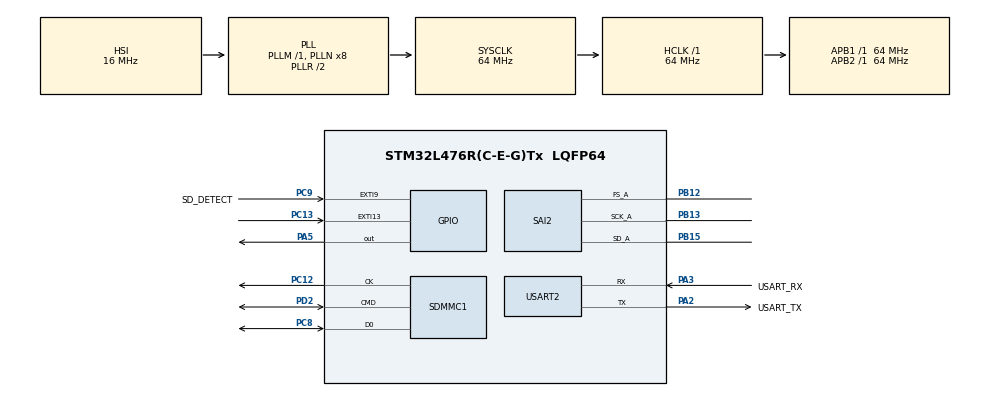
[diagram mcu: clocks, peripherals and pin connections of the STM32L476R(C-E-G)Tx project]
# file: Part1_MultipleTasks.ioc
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Dma.Request0=SAI2_A
Dma.Request1=SDMMC1
Dma.SAI2_A.0.Direction=DMA_PERIPH_TO_MEMORY
Dma.SAI2_A.0.Instance=DMA1_Channel6
Dma.SAI2_A.0.MemDataAlignment=DMA_MDATAALIGN_WORD
Dma.SAI2_A.0.MemInc=DMA_MINC_ENABLE
Dma.SAI2_A.0.Mode=DMA_CIRCULAR
Dma.SAI2_A.0.PeriphDataAlignment=DMA_PDATAALIGN_WORD
Dma.SAI2_A.0.PeriphInc=DMA_PINC_DISABLE
Dma.SAI2_A.0.Priority=DMA_PRIORITY_VERY_HIGH
Dma.SDMMC1.1.Direction=DMA_PERIPH_TO_MEMORY
Dma.SDMMC1.1.Instance=DMA2_Channel5
Dma.SDMMC1.1.MemDataAlignment=DMA_MDATAALIGN_WORD
Dma.SDMMC1.1.MemInc=DMA_MINC_ENABLE
Dma.SDMMC1.1.Mode=DMA_NORMAL
Dma.SDMMC1.1.PeriphDataAlignment=DMA_PDATAALIGN_WORD
Dma.SDMMC1.1.PeriphInc=DMA_PINC_DISABLE
Dma.SDMMC1.1.Priority=DMA_PRIORITY_VERY_HIGH
FATFS._FS_EXFAT=1
FATFS._FS_TIMEOUT=100
FATFS._MAX_LFN=64
FATFS._USE_LFN=3
FATFS._USE_MUTEX=1
FREERTOS.HEAP_NUMBER=4
FREERTOS.Tasks01=defaultTask,24,128,StartDefaultTask,As weak,NULL,Dynamic,NULL,NULL
FREERTOS.configCHECK_FOR_STACK_OVERFLOW=2
FREERTOS.configENABLE_FPU=1
FREERTOS.configTOTAL_HEAP_SIZE=48000
FREERTOS.configUSE_DAEMON_TASK_STARTUP_HOOK=0
Mcu.Family=STM32L4
Mcu.Name=STM32L476R(C-E-G)Tx
Mcu.Package=LQFP64
NVIC.DMA1_Channel6_IRQn=true\:5\:0\:false\:false\:true\:true\:false\:true\:true
NVIC.DMA2_Channel5_IRQn=true\:5\:0\:true\:false\:true\:false\:false\:true\:true
NVIC.EXTI15_10_IRQn=true\:5\:0\:false\:false\:true\:true\:true\:true\:true
NVIC.EXTI9_5_IRQn=true\:5\:0\:false\:false\:true\:true\:true\:true\:true
NVIC.PriorityGroup=NVIC_PRIORITYGROUP_4
NVIC.SDMMC1_IRQn=true\:5\:0\:false\:false\:true\:true\:true\:true\:true
NVIC.TIM2_IRQn=true\:5\:0\:false\:false\:true\:true\:true\:true\:true
NVIC.TIM6_DAC_IRQn=true\:15\:0\:false\:false\:true\:false\:false\:true\:true
NVIC.TimeBase=TIM6_DAC_IRQn
NVIC.TimeBaseIP=TIM6
PA13\ (JTMS-SWDIO).GPIO_Label=TMS
PA13\ (JTMS-SWDIO).Mode=Trace_Asynchronous_SW
PA13\ (JTMS-SWDIO).Signal=SYS_JTMS-SWDIO
PA14\ (JTCK-SWCLK).GPIO_Label=TCK
PA14\ (JTCK-SWCLK).Mode=Trace_Asynchronous_SW
PA14\ (JTCK-SWCLK).Signal=SYS_JTCK-SWCLK
PA2.GPIO_Label=USART_TX
PA2.GPIO_Mode=GPIO_MODE_AF_PP
PA2.GPIO_PuPd=GPIO_NOPULL
PA2.GPIO_Speed=GPIO_SPEED_FREQ_VERY_HIGH
PA2.Mode=Asynchronous
PA2.Signal=USART2_TX
PA3.GPIO_Label=USART_RX
PA3.GPIO_Mode=GPIO_MODE_AF_PP
PA3.GPIO_PuPd=GPIO_NOPULL
PA3.GPIO_Speed=GPIO_SPEED_FREQ_VERY_HIGH
PA3.Mode=Asynchronous
PA3.Signal=USART2_RX
PA5.Signal=GPIO_Output
PB12.Mode=SAI_A_Master
PB12.Signal=SAI2_FS_A
PB13.Mode=SAI_A_Master
PB13.Signal=SAI2_SCK_A
PB15.GPIO_PuPd=GPIO_PULLDOWN
PB15.Mode=SAI_A_Master
PB15.Signal=SAI2_SD_A
PB3\ (JTDO-TRACESWO).GPIO_Label=SWO
PB3\ (JTDO-TRACESWO).Mode=Trace_Asynchronous_SW
PB3\ (JTDO-TRACESWO).Signal=SYS_JTDO-SWO
PC12.Mode=SD_1_bit
PC12.Signal=SDMMC1_CK
PC13.GPIO_ModeDefaultEXTI=GPIO_MODE_IT_RISING_FALLING
PC13.Signal=GPXTI13
PC14-OSC32_IN\ (PC14).Signal=RCC_OSC32_IN
PC15-OSC32_OUT\ (PC15).Signal=RCC_OSC32_OUT
PC8.Mode=SD_1_bit
PC8.Signal=SDMMC1_D0
PC9.GPIO_Label=SD_DETECT
PC9.GPIO_ModeDefaultEXTI=GPIO_MODE_IT_RISING_FALLING
PC9.GPIO_PuPd=GPIO_PULLUP
PC9.Signal=GPXTI9
PD2.Mode=SD_1_bit
PD2.Signal=SDMMC1_CMD
PH0-OSC_IN\ (PH0).Signal=RCC_OSC_IN
PH1-OSC_OUT\ (PH1).Signal=RCC_OSC_OUT
ProjectManager.HeapSize=0x400
ProjectManager.StackSize=0x800
ProjectManager.TargetToolchain=CMake
RCC.ADCFreq_Value=64000000
RCC.AHBFreq_Value=64000000
RCC.APB1Freq_Value=64000000
RCC.APB1TimFreq_Value=64000000
RCC.APB2Freq_Value=64000000
RCC.APB2TimFreq_Value=64000000
RCC.CK48CLockSelection=RCC_USBCLKSOURCE_PLL
RCC.CortexFreq_Value=64000000
RCC.HCLKFreq_Value=64000000
RCC.HSE_VALUE=8000000
RCC.HSI_VALUE=16000000
RCC.LSE_VALUE=32768
RCC.MSI_VALUE=4000000
RCC.PLLQ=RCC_PLLQ_DIV4
RCC.PLLSAI1Q=RCC_PLLQ_DIV4
RCC.PLLSAI2N=12
RCC.PLLSAI2P=RCC_PLLP_DIV17
RCC.PLLSourceVirtual=RCC_PLLSOURCE_HSI
RCC.PREFETCH_ENABLE=1
RCC.SAI2CLockSelection=RCC_SAI2CLKSOURCE_PLLSAI2
RCC.SYSCLKFreq_VALUE=64000000
RCC.SYSCLKSource=RCC_SYSCLKSOURCE_PLLCLK
RCC.USBFreq_Value=32000000
RCC.VCOOutputFreq_Value=128000000
SAI2.AudioFrequency-SAI_A_Master=SAI_AUDIO_FREQUENCY_44K
SAI2.AudioMode-SAI_A_Master=SAI_MODEMASTER_RX
SAI2.BasicDataSize-SAI_A_Master=SAI_PROTOCOL_DATASIZE_24BIT
SAI2.ErrorAudioFreq-SAI_A_Master=0.03 %
SAI2.FIFOThreshold-SAI_A_Master=SAI_FIFOTHRESHOLD_EMPTY
SAI2.InitProtocol-SAI_A_Master=Enable
SAI2.Instance-SAI_A_Master=SAI$Index_Block_A
SAI2.MClockEnable-SAI_A_Master=SAI_MASTERCLOCK_DISABLE
SAI2.MonoStereoMode-SAI_A_Master=SAI_MONOMODE
SAI2.NoDivider-SAI_A_Master=SAI_MASTERDIVIDER_ENABLE
SAI2.RealAudioFreq-SAI_A_Master=44.117 KHz
SAI2.VirtualMode-SAI_A_Master=VM_MASTER
SAI2.VirtualProtocol-SAI_A_BASIC=VM_BASIC_PROTOCOL
SDMMC1.ClockDiv=8
SDMMC1.HardwareFlowControl=SDMMC_HARDWARE_FLOW_CONTROL_ENABLE
STMicroelectronics.X-CUBE-ALGOBUILD.1.5.0.LibraryCcDSPOoLibraryJjDSPOoLibrary=true
TIM2.Period=19999
TIM2.Prescaler=6400
USART2.VirtualMode-Asynchronous=VM_ASYNC
VP_FATFS_VS_SDIO.Mode=SDIO
VP_FREERTOS_VS_CMSIS_V2.Mode=CMSIS_V2
VP_NUCLEO-L476RG_VS_BSP_COMMON.Mode=COMMON
VP_RTC_VS_RTC_Activate.Mode=RTC_Enabled
VP_RTC_VS_RTC_Calendar.Mode=RTC_Calendar
VP_SAI2_VP_$IpInstance_SAIA_SAI_BASIC.Mode=SAI_A_BASIC
VP_STMicroelectronics.X-CUBE-ALGOBUILD_VS_DSPOoLibraryJjLibrary_1.5.0_1.5.0.Mode=DSPOoLibraryJjLibrary
VP_SYS_VS_tim6.Mode=TIM6
VP_TIM2_VS_ClockSourceINT.Mode=Internal
VP_TIM2_VS_OPM.Mode=OPM_bit
board=NUCLEO-L476RG

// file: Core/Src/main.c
/* USER CODE BEGIN Header */
/**
  ******************************************************************************
  * @file           : main.c
  * @brief          : Main program body
  ******************************************************************************
  * @attention
  *
  * Copyright (c) 2026 STMicroelectronics.
  * All rights reserved.
  *
  * This software is licensed under terms that can be found in the LICENSE file
  * in the root directory of this software component.
  * If no LICENSE file comes with this software, it is provided AS-IS.
  *
  ******************************************************************************
  */
/* USER CODE END Header */
#include "main.h"
#include "bsp_driver_sd.h"
#include "cmsis_os.h"
#include "fatfs.h"

/* USER CODE BEGIN Includes */
#include "FreeRTOS.h"
#include "stm32l476xx.h"
#include "stm32l4xx_nucleo.h"
#include "task.h"
#include "arm_math.h"
#include "string.h"
#include "stdio.h"
#include "queue.h"
#include "stdarg.h"
#include "event_groups.h"
#include "semphr.h"
/* USER CODE END Includes */

/* USER CODE BEGIN PD */
#define DMA_BUF_SIZE                       1024
#define AUDIO_BLOCK_LEN_WORDS             (DMA_BUF_SIZE/2)
#define AUDIO_BLOCK_SIZE_BYTES            (AUDIO_BLOCK_LEN_WORDS*4)
#define FFT_LENGTH                         AUDIO_BLOCK_LEN_WORDS
#define FFT_MAG_LEN                       (FFT_LENGTH/2)
#define FFT_MAG_LEN_BYTES                 (FFT_MAG_LEN*4)
#define SAMPLE_RATE                        44117.0f
#define FFT_RESOLUTION                    (int)(SAMPLE_RATE/FFT_LENGTH) // 44100/256 = 172.265625 Hz

#define AUDIO_QUEUE_LEN                    4
#define AUDIO_QUEUE_SIZE                  (AUDIO_QUEUE_LEN*AUDIO_BLOCK_SIZE_BYTES)

#define FFT_QUEUE_LEN                      4

#define SD_CONNECTION_EVENT_BIT             (1<<0)
#define SD_EJECT_BIT                        (1<<1)
#define SD_RECORDING_CTL_BIT                (1<<2)
#define SD_RECORDING_STATUS_BIT             (1<<3)
#define SD_RECORDING_ACTIVE                 (1<<4)
#define SD_RECORDING_STOPPED               0
/* USER CODE END PD */

RTC_HandleTypeDef hrtc;

SAI_HandleTypeDef hsai_BlockA2;
DMA_HandleTypeDef hdma_sai2_a;

SD_HandleTypeDef hsd1;
DMA_HandleTypeDef hdma_sdmmc1;

TIM_HandleTypeDef htim2;

UART_HandleTypeDef huart2;

/* Definitions for defaultTask */
osThreadId_t defaultTaskHandle;
const osThreadAttr_t defaultTask_attributes = {
  .name = "defaultTask",
  .stack_size = 128 * 4,
  .priority = (osPriority_t) osPriorityNormal,
};
/* USER CODE BEGIN PV */

extern uint8_t retSD;    /* Return value for SD */
extern char SDPath[4];   /* SD logical drive path */
extern FATFS SDFatFS;    /* File system object for SD logical drive */
extern FIL SDFile;       /* File object for SD */

uint8_t init = 0;

char UARTrxBuf[6];
uint8_t buttonLongPressed;
static WAV_HeaderTypeDef wavHeader={
  .riff_chunk_id="RIFF",
  .format="WAVE",
  .fmt_chunk_id= "fmt ",
  .fmt_chunk_size = 16,
  .audio_format = 1,      // PCM Linear
  .num_channels = 1,       // Mono microphone
  .sample_rate = SAMPLE_RATE,   // 16kHz
  .bits_per_sample = 24,   // 24-bit audio
  .block_align = 3,
  .byte_rate = SAMPLE_RATE*3,
  .data_chunk_id="data",
  .chunk_size = 0,
  .data_chunk_size = 0
};

int32_t raw_audio_samples[AUDIO_BLOCK_LEN_WORDS] __attribute__((aligned(4))) __attribute__((section(".ram2")));
int32_t raw_audio_samples2[AUDIO_BLOCK_LEN_WORDS] __attribute__((aligned(4))) __attribute__((section(".ram2")));
uint8_t packed_24bit_buf[ AUDIO_BLOCK_LEN_WORDS * 3 ] __attribute__((aligned(4))) __attribute__((section(".ram2")));
int32_t DMA_buf[DMA_BUF_SIZE] __attribute__((aligned(4))) __attribute__((section(".ram2")));

arm_rfft_fast_instance_f32 xFFT_instance;

float32_t fft_input[FFT_LENGTH];
float32_t fft_output[FFT_LENGTH];
float32_t fft_magnitude[FFT_MAG_LEN];

TaskHandle_t AudioProcessingTaskHandle;
TaskHandle_t FFTProcessingTaskHandle;
TaskHandle_t SDCardCTLTaskHandle;
TaskHandle_t SDRecordingTaskHandle;

static StaticQueue_t xAudioQueue;
QueueHandle_t xhAudioQueue;
uint8_t AudioQueueStorageBuffer[AUDIO_QUEUE_SIZE] __attribute__((section(".ram2")));

static StaticQueue_t xFFTQueue;
QueueHandle_t xhFFTQueue;
uint8_t FFTQueueStorageBuffer[FFT_QUEUE_LEN*FFT_MAG_LEN_BYTES] __attribute__((section(".ram2")));
SemaphoreHandle_t xFFTProcessingSemaphore;

static StaticQueue_t xRecordingQueue;
QueueHandle_t xhRecordingQueue;
uint8_t RecordingQueueStorageBuffer[AUDIO_QUEUE_SIZE] __attribute__((section(".ram2")));

EventGroupHandle_t xhFilesystemEventGroup;

StaticEventGroup_t xFilesystemEventGroup;
/* USER CODE END PV */

void SystemClock_Config(void);
static void MX_GPIO_Init(void);
static void MX_DMA_Init(void);
static void MX_SAI2_Init(void);
static void MX_USART2_UART_Init(void);
static void MX_SDMMC1_SD_Init(void);
static void MX_RTC_Init(void);
static void MX_TIM2_Init(void);
void StartDefaultTask(void *argument);

/* USER CODE BEGIN PFP */
void vAudioProcessingTask(void *argument);
void vFFTProcessingTask(void *argument);
void vSDCardCTLTask(void *argument);
void vSDRecordingTask(void *argument);
void traceTaskSwitch(void);
/* USER CODE END PFP */

/* USER CODE BEGIN 0 */
void UART_Printf(const char* fmt, ...) {
    char buff[256];
    va_list args;
    va_start(args, fmt);
    vsnprintf(buff, sizeof(buff), fmt, args);
    HAL_UART_Transmit(&huart2, (uint8_t*)buff, strlen(buff), HAL_MAX_DELAY);
    va_end(args);
}

void SD_Init() {

    MX_FATFS_Init();
    UART_Printf("Initializing SD Card\r\n");
    retSD = f_mount(&SDFatFS, (TCHAR const*)SDPath, 0);
    if(retSD != FR_OK) {
        UART_Printf("f_mount() failed, retSD = %d\r\n", retSD);
        return;
    }

    UART_Printf("f_mount() done!\r\n");

    uint32_t freeClust;
    FATFS* fs_ptr = &SDFatFS;
    retSD = f_getfree((TCHAR const*)SDPath, &freeClust, &fs_ptr); // Warning! This fills SDFatFS.n_fatent and SDFatFS.csize!
    if(retSD != FR_OK) {
        UART_Printf("f_getfree() failed, retSD = %d\r\n", retSD);
        return;
    }

    UART_Printf("f_getfree() done!\r\n");

    uint32_t totalBlocks = (SDFatFS.n_fatent - 2) * SDFatFS.csize;
    uint32_t freeBlocks = freeClust * SDFatFS.csize;

    UART_Printf("Total blocks: %lu (%lu Mb)\r\n", totalBlocks, totalBlocks / 2000);
    UART_Printf("Free blocks: %lu (%lu Mb)\r\n", freeBlocks, freeBlocks / 2000);

    DIR dir;
    retSD = f_opendir(&dir, "/");
    if(retSD != FR_OK) {
        UART_Printf("f_opendir() failed, retSD = %d\r\n", retSD);
        return;
    }

    FILINFO fileInfo;
    uint32_t totalFiles = 0;
    uint32_t totalDirs = 0;
    UART_Printf("--------\r\nRoot directory:\r\n");
    for(;;) {
        retSD = f_readdir(&dir, &fileInfo);
        if((retSD != FR_OK) || (fileInfo.fname[0] == '\0')) {
            break;
        }

        if(fileInfo.fattrib & AM_DIR) {
            UART_Printf("  DIR  %s\r\n", fileInfo.fname);
            totalDirs++;
        } else {
            UART_Printf("  FILE %s\r\n", fileInfo.fname);
            totalFiles++;
        }
    }

    UART_Printf("(total: %lu dirs, %lu files)\r\n--------\r\n", totalDirs, totalFiles);

    retSD = f_closedir(&dir);
    if(retSD != FR_OK) {
        UART_Printf("f_closedir() failed, retSD = %d\r\n", retSD);
        return;
    }

    init = 1;
    UART_Printf("SD Initialization Done!\r\n");
    BSP_LED_On(LED_GREEN);
}

void SD_DeInit(void){
  FATFS_UnLinkDriver(SDPath);
  HAL_SD_DeInit(&hsd1);
  f_mount(&SDFatFS, SDPath, 0);
  init = 0;
  UART_Printf("SD Card Deinitalized\r\n");
}
/* USER CODE END 0 */

int main(void)
{

  /* MCU Configuration--------------------------------------------------------*/

  /* Reset of all peripherals, Initializes the Flash interface and the Systick. */
  HAL_Init();

  /* Configure the system clock */
  SystemClock_Config();

  /* Initialize all configured peripherals */
  MX_GPIO_Init();
  MX_DMA_Init();
  MX_SAI2_Init();
  MX_USART2_UART_Init();
  MX_SDMMC1_SD_Init();
  MX_FATFS_Init();
  MX_RTC_Init();
  MX_TIM2_Init();
  /* USER CODE BEGIN 2 */
  arm_rfft_fast_init_f32(&xFFT_instance, FFT_LENGTH);

  UART_Printf("Provide date as DDMMYY:\r\n");
  HAL_UART_Receive(&huart2, (uint8_t*)UARTrxBuf, 6, HAL_MAX_DELAY);
  RTC_DateTypeDef datetime={
    1,
    0,
    0,
    0
  };
  int day,month,year;
  sscanf(UARTrxBuf, "%2d%2d%2d", &day, &month, &year);
  datetime.Date = day;
  datetime.Month = month;
  datetime.Year = year;
  HAL_RTC_SetDate(&hrtc,&datetime,RTC_FORMAT_BIN);
  /* USER CODE END 2 */

  /* Init scheduler */
  osKernelInitialize();

  /* USER CODE BEGIN RTOS_SEMAPHORES */
  /* add semaphores, ... */
  xFFTProcessingSemaphore = xSemaphoreCreateBinary();
  /* USER CODE END RTOS_SEMAPHORES */

  /* USER CODE BEGIN RTOS_QUEUES */
  /* add queues, ... */

  xhAudioQueue = xQueueCreateStatic(AUDIO_QUEUE_LEN, sizeof(raw_audio_samples), AudioQueueStorageBuffer, &xAudioQueue);
  xhRecordingQueue = xQueueCreateStatic(AUDIO_QUEUE_LEN, sizeof(raw_audio_samples2), RecordingQueueStorageBuffer, &xRecordingQueue);
  xhFFTQueue = xQueueCreateStatic(FFT_QUEUE_LEN, sizeof(fft_magnitude), FFTQueueStorageBuffer, &xFFTQueue);
  /* USER CODE END RTOS_QUEUES */

  /* Create the thread(s) */
  /* creation of defaultTask */
  defaultTaskHandle = osThreadNew(StartDefaultTask, NULL, &defaultTask_attributes);

  /* USER CODE BEGIN RTOS_THREADS */
  /* add threads, ... */
  xTaskCreate(vAudioProcessingTask, "Audio Processing", 512, NULL, 2, &AudioProcessingTaskHandle);
  xTaskCreate(vSDCardCTLTask, "SD Control", 256, NULL, 1, &SDCardCTLTaskHandle);
  xTaskCreate(vSDRecordingTask, "SD Recording", 512, NULL, 2, &SDRecordingTaskHandle);
  xTaskCreate(vFFTProcessingTask, "FFT Processing", 312, NULL, 2, &FFTProcessingTaskHandle);
  /* USER CODE END RTOS_THREADS */

  /* USER CODE BEGIN RTOS_EVENTS */
  /* add events, ... */
  xhFilesystemEventGroup = xEventGroupCreateStatic( &xFilesystemEventGroup );
  /* USER CODE END RTOS_EVENTS */

  /* Start scheduler */
  osKernelStart();

  /* We should never get here as control is now taken by the scheduler */

  /* Infinite loop */
  while (1)
  {

  }
}

void SystemClock_Config(void)
{
  RCC_OscInitTypeDef RCC_OscInitStruct = {0};
  RCC_ClkInitTypeDef RCC_ClkInitStruct = {0};

  /** Configure the main internal regulator output voltage
  */
  if (HAL_PWREx_ControlVoltageScaling(PWR_REGULATOR_VOLTAGE_SCALE1) != HAL_OK)
  {
    Error_Handler();
  }

  /** Initializes the RCC Oscillators according to the specified parameters
  * in the RCC_OscInitTypeDef structure.
  */
  RCC_OscInitStruct.OscillatorType = RCC_OSCILLATORTYPE_HSI|RCC_OSCILLATORTYPE_LSI;
  RCC_OscInitStruct.HSIState = RCC_HSI_ON;
  RCC_OscInitStruct.HSICalibrationValue = RCC_HSICALIBRATION_DEFAULT;
  RCC_OscInitStruct.LSIState = RCC_LSI_ON;
  RCC_OscInitStruct.PLL.PLLState = RCC_PLL_ON;
  RCC_OscInitStruct.PLL.PLLSource = RCC_PLLSOURCE_HSI;
  RCC_OscInitStruct.PLL.PLLM = 1;
  RCC_OscInitStruct.PLL.PLLN = 8;
  RCC_OscInitStruct.PLL.PLLP = RCC_PLLP_DIV7;
  RCC_OscInitStruct.PLL.PLLQ = RCC_PLLQ_DIV4;
  RCC_OscInitStruct.PLL.PLLR = RCC_PLLR_DIV2;
  if (HAL_RCC_OscConfig(&RCC_OscInitStruct) != HAL_OK)
  {
    Error_Handler();
  }

  /** Initializes the CPU, AHB and APB buses clocks
  */
  RCC_ClkInitStruct.ClockType = RCC_CLOCKTYPE_HCLK|RCC_CLOCKTYPE_SYSCLK
                              |RCC_CLOCKTYPE_PCLK1|RCC_CLOCKTYPE_PCLK2;
  RCC_ClkInitStruct.SYSCLKSource = RCC_SYSCLKSOURCE_PLLCLK;
  RCC_ClkInitStruct.AHBCLKDivider = RCC_SYSCLK_DIV1;
  RCC_ClkInitStruct.APB1CLKDivider = RCC_HCLK_DIV1;
  RCC_ClkInitStruct.APB2CLKDivider = RCC_HCLK_DIV1;

  if (HAL_RCC_ClockConfig(&RCC_ClkInitStruct, FLASH_LATENCY_3) != HAL_OK)
  {
    Error_Handler();
  }
}

static void MX_RTC_Init(void)
{

  RTC_TimeTypeDef sTime = {0};
  RTC_DateTypeDef sDate = {0};

  /** Initialize RTC Only
  */
  hrtc.Instance = RTC;
  hrtc.Init.HourFormat = RTC_HOURFORMAT_24;
  hrtc.Init.AsynchPrediv = 127;
  hrtc.Init.SynchPrediv = 255;
  hrtc.Init.OutPut = RTC_OUTPUT_DISABLE;
  hrtc.Init.OutPutRemap = RTC_OUTPUT_REMAP_NONE;
  hrtc.Init.OutPutPolarity = RTC_OUTPUT_POLARITY_HIGH;
  hrtc.Init.OutPutType = RTC_OUTPUT_TYPE_OPENDRAIN;
  if (HAL_RTC_Init(&hrtc) != HAL_OK)
  {
    Error_Handler();
  }

  /** Initialize RTC and set the Time and Date
  */
  sTime.Hours = 0x0;
  sTime.Minutes = 0x0;
  sTime.Seconds = 0x0;
  sTime.DayLightSaving = RTC_DAYLIGHTSAVING_NONE;
  sTime.StoreOperation = RTC_STOREOPERATION_RESET;
  if (HAL_RTC_SetTime(&hrtc, &sTime, RTC_FORMAT_BCD) != HAL_OK)
  {
    Error_Handler();
  }
  sDate.WeekDay = RTC_WEEKDAY_MONDAY;
  sDate.Month = RTC_MONTH_JANUARY;
  sDate.Date = 0x1;
  sDate.Year = 0x0;

  if (HAL_RTC_SetDate(&hrtc, &sDate, RTC_FORMAT_BCD) != HAL_OK)
  {
    Error_Handler();
  }

}

static void MX_SAI2_Init(void)
{

  hsai_BlockA2.Instance = SAI2_Block_A;
  hsai_BlockA2.Init.AudioMode = SAI_MODEMASTER_RX;
  hsai_BlockA2.Init.Synchro = SAI_ASYNCHRONOUS;
  hsai_BlockA2.Init.OutputDrive = SAI_OUTPUTDRIVE_DISABLE;
  hsai_BlockA2.Init.NoDivider = SAI_MASTERDIVIDER_ENABLE;
  hsai_BlockA2.Init.FIFOThreshold = SAI_FIFOTHRESHOLD_EMPTY;
  hsai_BlockA2.Init.AudioFrequency = SAI_AUDIO_FREQUENCY_44K;
  hsai_BlockA2.Init.SynchroExt = SAI_SYNCEXT_DISABLE;
  hsai_BlockA2.Init.MonoStereoMode = SAI_MONOMODE;
  hsai_BlockA2.Init.CompandingMode = SAI_NOCOMPANDING;
  if (HAL_SAI_InitProtocol(&hsai_BlockA2, SAI_I2S_STANDARD, SAI_PROTOCOL_DATASIZE_24BIT, 2) != HAL_OK)
  {
    Error_Handler();
  }

}

static void MX_SDMMC1_SD_Init(void)
{

  hsd1.Instance = SDMMC1;
  hsd1.Init.ClockEdge = SDMMC_CLOCK_EDGE_RISING;
  hsd1.Init.ClockBypass = SDMMC_CLOCK_BYPASS_DISABLE;
  hsd1.Init.ClockPowerSave = SDMMC_CLOCK_POWER_SAVE_DISABLE;
  hsd1.Init.BusWide = SDMMC_BUS_WIDE_1B;
  hsd1.Init.HardwareFlowControl = SDMMC_HARDWARE_FLOW_CONTROL_ENABLE;
  hsd1.Init.ClockDiv = 8;

}

static void MX_TIM2_Init(void)
{

  TIM_ClockConfigTypeDef sClockSourceConfig = {0};
  TIM_MasterConfigTypeDef sMasterConfig = {0};

  htim2.Instance = TIM2;
  htim2.Init.Prescaler = 6400;
  htim2.Init.CounterMode = TIM_COUNTERMODE_UP;
  htim2.Init.Period = 19999;
  htim2.Init.ClockDivision = TIM_CLOCKDIVISION_DIV1;
  htim2.Init.AutoReloadPreload = TIM_AUTORELOAD_PRELOAD_DISABLE;
  if (HAL_TIM_Base_Init(&htim2) != HAL_OK)
  {
    Error_Handler();
  }
  sClockSourceConfig.ClockSource = TIM_CLOCKSOURCE_INTERNAL;
  if (HAL_TIM_ConfigClockSource(&htim2, &sClockSourceConfig) != HAL_OK)
  {
    Error_Handler();
  }
  if (HAL_TIM_OnePulse_Init(&htim2, TIM_OPMODE_SINGLE) != HAL_OK)
  {
    Error_Handler();
  }
  sMasterConfig.MasterOutputTrigger = TIM_TRGO_RESET;
  sMasterConfig.MasterSlaveMode = TIM_MASTERSLAVEMODE_DISABLE;
  if (HAL_TIMEx_MasterConfigSynchronization(&htim2, &sMasterConfig) != HAL_OK)
  {
    Error_Handler();
  }

}

static void MX_USART2_UART_Init(void)
{

  huart2.Instance = USART2;
  huart2.Init.BaudRate = 115200;
  huart2.Init.WordLength = UART_WORDLENGTH_8B;
  huart2.Init.StopBits = UART_STOPBITS_1;
  huart2.Init.Parity = UART_PARITY_NONE;
  huart2.Init.Mode = UART_MODE_TX_RX;
  huart2.Init.HwFlowCtl = UART_HWCONTROL_NONE;
  huart2.Init.OverSampling = UART_OVERSAMPLING_16;
  huart2.Init.OneBitSampling = UART_ONE_BIT_SAMPLE_DISABLE;
  huart2.AdvancedInit.AdvFeatureInit = UART_ADVFEATURE_NO_INIT;
  if (HAL_UART_Init(&huart2) != HAL_OK)
  {
    Error_Handler();
  }

}

static void MX_DMA_Init(void)
{

  /* DMA controller clock enable */
  __HAL_RCC_DMA1_CLK_ENABLE();
  __HAL_RCC_DMA2_CLK_ENABLE();

  /* DMA interrupt init */
  /* DMA1_Channel6_IRQn interrupt configuration */
  HAL_NVIC_SetPriority(DMA1_Channel6_IRQn, 5, 0);
  HAL_NVIC_EnableIRQ(DMA1_Channel6_IRQn);
  /* DMA2_Channel5_IRQn interrupt configuration */
  HAL_NVIC_SetPriority(DMA2_Channel5_IRQn, 5, 0);
  HAL_NVIC_EnableIRQ(DMA2_Channel5_IRQn);

}

static void MX_GPIO_Init(void)
{
  GPIO_InitTypeDef GPIO_InitStruct = {0};

  /* GPIO Ports Clock Enable */
  __HAL_RCC_GPIOC_CLK_ENABLE();
  __HAL_RCC_GPIOH_CLK_ENABLE();
  __HAL_RCC_GPIOA_CLK_ENABLE();
  __HAL_RCC_GPIOB_CLK_ENABLE();
  __HAL_RCC_GPIOD_CLK_ENABLE();

  /*Configure GPIO pin Output Level */
  HAL_GPIO_WritePin(GPIOA, GPIO_PIN_5, GPIO_PIN_RESET);

  /*Configure GPIO pin : PC13 */
  GPIO_InitStruct.Pin = GPIO_PIN_13;
  GPIO_InitStruct.Mode = GPIO_MODE_IT_RISING_FALLING;
  GPIO_InitStruct.Pull = GPIO_NOPULL;
  HAL_GPIO_Init(GPIOC, &GPIO_InitStruct);

  /*Configure GPIO pin : PA5 */
  GPIO_InitStruct.Pin = GPIO_PIN_5;
  GPIO_InitStruct.Mode = GPIO_MODE_OUTPUT_PP;
  GPIO_InitStruct.Pull = GPIO_NOPULL;
  GPIO_InitStruct.Speed = GPIO_SPEED_FREQ_LOW;
  HAL_GPIO_Init(GPIOA, &GPIO_InitStruct);

  /*Configure GPIO pin : SD_DETECT_Pin */
  GPIO_InitStruct.Pin = SD_DETECT_Pin;
  GPIO_InitStruct.Mode = GPIO_MODE_IT_RISING_FALLING;
  GPIO_InitStruct.Pull = GPIO_PULLUP;
  HAL_GPIO_Init(SD_DETECT_GPIO_Port, &GPIO_InitStruct);

  /* EXTI interrupt init*/
  HAL_NVIC_SetPriority(EXTI9_5_IRQn, 5, 0);
  HAL_NVIC_EnableIRQ(EXTI9_5_IRQn);

  HAL_NVIC_SetPriority(EXTI15_10_IRQn, 5, 0);
  HAL_NVIC_EnableIRQ(EXTI15_10_IRQn);

}

/* USER CODE BEGIN 4 */

void vAudioProcessingTask(void *argument){

  HAL_SAI_Receive_DMA(&hsai_BlockA2, (uint8_t*)DMA_buf, DMA_BUF_SIZE);
  for(;;)
  {
    xQueueReceive(xhAudioQueue, raw_audio_samples, portMAX_DELAY);

    if(raw_audio_samples[0]!=0)
    {
      for(uint32_t i=0;i<FFT_LENGTH;i++)
      {

        int32_t signed_sample = ((int32_t)raw_audio_samples[i] << 8) >> 8; // EXTEND SIGN BIT FROM 24 BIT WORDS

        fft_input[i] = signed_sample / 8388608.0f; // NORMALIZE TO FLOAT DIVIDING BY 2**23

      }
      arm_rfft_fast_f32(&xFFT_instance, fft_input, fft_output, 0);
      arm_cmplx_mag_f32(&fft_output[2], &fft_magnitude[1], FFT_MAG_LEN-1);

      fft_magnitude[0] = fabsf(fft_output[0]); // fft_output[0] is already real

    }
    xQueueSend(xhRecordingQueue, raw_audio_samples, pdMS_TO_TICKS(20));
    xSemaphoreGive(xFFTProcessingSemaphore);
  }
}

void vFFTProcessingTask(void *argument){ // Control task responding to audio frequencies
  for(;;)
  {
    xSemaphoreTake(xFFTProcessingSemaphore, portMAX_DELAY);
    // Process the FFT magnitude data here
    if(fft_magnitude[1000/FFT_RESOLUTION] > 0.4f) {
      UART_Printf("1kHz tone detected: %f\r\n", fft_magnitude[1000/FFT_RESOLUTION]);
    }
  }
}

void vSDCardCTLTask(void *argument){  // Control Task for SD Card events (connect, eject, recording control)
  EventBits_t bits;

  if(BSP_SD_IsDetected() && (init == 0))
  {
    SD_Init();
  }
  for(;;)
  {
    bits = xEventGroupWaitBits(xhFilesystemEventGroup, SD_CONNECTION_EVENT_BIT | SD_EJECT_BIT | SD_RECORDING_CTL_BIT, pdTRUE, pdFALSE, portMAX_DELAY);
    if(bits & SD_RECORDING_CTL_BIT && BSP_SD_IsDetected() && (init == 1))
    {

      if(!(bits & SD_RECORDING_ACTIVE)){
        xEventGroupSetBits(xhFilesystemEventGroup, SD_RECORDING_ACTIVE);
        UART_Printf("Recording Started...\r\n");
      }else{
        xEventGroupClearBits(xhFilesystemEventGroup, SD_RECORDING_ACTIVE);
        UART_Printf("Stopping Recording...\r\n");
      }
    }
    if(bits & SD_EJECT_BIT)
    {
      SD_DeInit();
      UART_Printf("SD Card Ejected\r\n");
    }
    if(bits & SD_CONNECTION_EVENT_BIT)
    {
      vTaskDelay(pdMS_TO_TICKS(500));
      if(BSP_SD_IsDetected() && (init == 0))
      {
        UART_Printf("SD Card Connected\r\n");
        SD_Init();
      }else if (!BSP_SD_IsDetected()){
        UART_Printf("SD Card Disconnected\r\n");
        SD_DeInit();
      }

    }
  }
}

void vSDRecordingTask(void *argument)
{
  FIL wavFile;
  UINT bytesWritten;
  uint32_t total_audio_bytes;

  // 1. Initialize the WAV Header Structure

  char filename[16];

  for(;;)
  {
    xEventGroupWaitBits(xhFilesystemEventGroup, SD_RECORDING_ACTIVE, pdFALSE, pdTRUE, portMAX_DELAY);

    GetNextFileName(filename);

    retSD = f_open(&wavFile, filename, FA_WRITE | FA_CREATE_ALWAYS);
    if(retSD != FR_OK)
    {
      UART_Printf("Failed to open file %s. retSD = %d\r\n", filename, retSD );
      Error_Handler();
    }
    UART_Printf("Creating recording %s\r\n", filename);
    uint32_t packed_idx;
    // reserve the 44-byte header; it gets rewritten with real sizes at the end
    f_write(&wavFile, &wavHeader, sizeof(WAV_HeaderTypeDef), &bytesWritten);
    wavHeader.chunk_size = 0;
    wavHeader.data_chunk_size = 0;
    total_audio_bytes = 0;
    while(1)
    {
      // 1. Wait for audio data, but do NOT block forever (e.g., wait 50ms max)
      BaseType_t queue_res = xQueueReceive(xhRecordingQueue, raw_audio_samples2, portMAX_DELAY);

      // 2. Woke up! Check the live bit state immediately
      EventBits_t current_bits = xEventGroupGetBits(xhFilesystemEventGroup);

      // 3. If the stop button was pressed, BREAK IMMEDIATELY
      if (!(current_bits & SD_RECORDING_ACTIVE))
      {
        UART_Printf("Stop bit detected! Exiting recording loop.\r\n");
        break;
      }

      // 4. If the queue timed out but recording is still supposed to be active, loop back and wait again
      if (queue_res != pdPASS)
      {
        UART_Printf("Queue Timed Out\r\n");
        continue;
      }
      // 5. Pack data normally (only reaches here if data was actually received)
      packed_idx = 0;
      for (uint32_t i = 0; i < AUDIO_BLOCK_LEN_WORDS; i++)
      {
        int32_t sample = ((int32_t)raw_audio_samples2[i] << 8) >> 8;
        packed_24bit_buf[packed_idx++] = (uint8_t)(sample & 0xFF);
        packed_24bit_buf[packed_idx++] = (uint8_t)((sample >> 8) & 0xFF);
        packed_24bit_buf[packed_idx++] = (uint8_t)((sample >> 16) & 0xFF);
      }

      // 6. Write data to card
      retSD = f_write(&wavFile, packed_24bit_buf, packed_idx, &bytesWritten);
      if(retSD != FR_OK)
      {
        UART_Printf("Failed to write file. retSD = %d\r\n", retSD);
      }
      total_audio_bytes += bytesWritten;
    }
    // 7. Fix up the header size fields now that recording is finished
    wavHeader.data_chunk_size = total_audio_bytes;
    wavHeader.chunk_size = 36 + total_audio_bytes;

    // Move file pointer back to byte 0 and overwrite the updated header
    retSD = f_lseek(&wavFile, 0);
    if(retSD != FR_OK)
    {
      UART_Printf("Failed to seek. retSD = %d\r\n", retSD );
      // Error_Handler();
    }
    retSD = f_write(&wavFile, &wavHeader, sizeof(WAV_HeaderTypeDef), &bytesWritten);
    if(retSD != FR_OK)
    {
      UART_Printf("Failed to write file %s. retSD = %d\r\n", filename, retSD );
      //Error_Handler();
    }
    // 8. Safely commit and close
    osDelay(10);
    UART_Printf("Closing file %s with %d bytes.\r\n", filename, total_audio_bytes );

    retSD = f_close(&wavFile);
    if(retSD != FR_OK)
    {
      UART_Printf("Failed to close file %s. retSD = %d\r\n", filename, retSD );
      Error_Handler();
    }
    UART_Printf("Closed file %s.\r\n", filename );
  }
}

void HAL_SAI_RxHalfCpltCallback(SAI_HandleTypeDef *hsai){
  BaseType_t xHigherPriorityTaskWoken = pdFALSE;

  xQueueSendFromISR(xhAudioQueue, &DMA_buf[0], &xHigherPriorityTaskWoken);
  portYIELD_FROM_ISR(xHigherPriorityTaskWoken);
}

void HAL_SAI_RxCpltCallback(SAI_HandleTypeDef *hsai){
  BaseType_t xHigherPriorityTaskWoken = pdFALSE;

  xQueueSendFromISR(xhAudioQueue, (DMA_buf+AUDIO_BLOCK_LEN_WORDS), &xHigherPriorityTaskWoken);
  portYIELD_FROM_ISR(xHigherPriorityTaskWoken);
}

void traceTaskSwitch(void)
{
  uint8_t buf1[50];
  BSP_LED_Toggle(LED_GREEN);

  snprintf((char*)buf1, sizeof(buf1), "Current Task: %s\r\n", pcTaskGetTaskName(NULL));
  HAL_UART_Transmit(&huart2, buf1, strlen((char*)buf1), HAL_MAX_DELAY);
}

uint8_t BSP_SD_IsDetected(void)
{
  return HAL_GPIO_ReadPin(SD_DETECT_GPIO_Port, SD_DETECT_Pin) ? 0 : 1;
}
uint8_t BSP_SD_ReadBlocks_DMA(uint32_t *pData, uint32_t ReadAddr, uint32_t NumOfBlocks)
{
 uint8_t sd_state = MSD_OK;
 // Since we are only using 1 DMA channel for SDMMC
 // Change DMA direction before calling SD Read
 // Direction can only be changed when DMA is disabled

 __HAL_DMA_DISABLE(hsd1.hdmarx);
 hsd1.hdmarx->Init.Direction = DMA_PERIPH_TO_MEMORY;
 hsd1.hdmarx->Instance->CCR &= ~DMA_CCR_DIR;

 /* Read block(s) in DMA transfer mode */
 if (HAL_SD_ReadBlocks_DMA(&hsd1, (uint8_t *)pData, ReadAddr, NumOfBlocks) != HAL_OK)
 {
 sd_state = MSD_ERROR;
 }

 return sd_state;
}

uint8_t BSP_SD_WriteBlocks_DMA(uint32_t *pData, uint32_t WriteAddr, uint32_t NumOfBlocks)
{
 uint8_t sd_state = MSD_OK;

 // Since we are only using 1 DMA channel for SDMMC
 // Change DMA direction before calling SD Read
 // Direction can only be changed when DMA is disabled

 __HAL_DMA_DISABLE(hsd1.hdmatx);
 hsd1.hdmatx->Init.Direction = DMA_MEMORY_TO_PERIPH;
 hsd1.hdmatx->Instance->CCR |= (uint32_t)DMA_CCR_DIR;

 /* Write block(s) in DMA transfer mode */
 if (HAL_SD_WriteBlocks_DMA(&hsd1, (uint8_t *)pData, WriteAddr, NumOfBlocks) != HAL_OK)
 {
 sd_state = MSD_ERROR;
 }

 return sd_state;
}

void HAL_GPIO_EXTI_Callback(uint16_t GPIO_Pin)
{
  BaseType_t xHigherPriorityTaskWoken = pdFALSE;
  static uint8_t buttonpresses = 0;
  if(SD_DETECT_Pin == GPIO_Pin)
  {
    xEventGroupSetBitsFromISR(xhFilesystemEventGroup, SD_CONNECTION_EVENT_BIT, &xHigherPriorityTaskWoken );

  }

  if(GPIO_PIN_13 == GPIO_Pin)
  {
    buttonpresses++;
    if(!BSP_PB_GetState(BUTTON_USER)){
      buttonLongPressed = 0;

      __HAL_TIM_SET_COUNTER(&htim2, 0);
      HAL_TIM_Base_Start_IT(&htim2);
    }else {
      HAL_TIM_Base_Stop_IT(&htim2);
      if(!buttonLongPressed && (__HAL_TIM_GET_COUNTER(&htim2) > 500))
      {
        xEventGroupSetBitsFromISR(xhFilesystemEventGroup, SD_RECORDING_CTL_BIT, &xHigherPriorityTaskWoken);
      }
    }
  }
  portYIELD_FROM_ISR(xHigherPriorityTaskWoken);
}

/* USER CODE END 4 */

__weak void StartDefaultTask(void *argument)
{
  for(;;)
  {
    osDelay(1);
  }
}

void HAL_TIM_PeriodElapsedCallback(TIM_HandleTypeDef *htim)
{
  /* USER CODE BEGIN Callback 0 */

  BaseType_t xHigherPriorityTaskWoken = pdFALSE;
  if(htim->Instance == TIM2){
    buttonLongPressed = 1;
    xEventGroupSetBitsFromISR(xhFilesystemEventGroup, SD_EJECT_BIT, &xHigherPriorityTaskWoken);
    portYIELD_FROM_ISR(xHigherPriorityTaskWoken);
  }
  /* USER CODE END Callback 0 */
  if (htim->Instance == TIM6)
  {
    HAL_IncTick();
  }
}

void Error_Handler(void)
{
  /* USER CODE BEGIN Error_Handler_Debug */
  /* User can add his own implementation to report the HAL error return state */
  __disable_irq();
  while (1)
  {
    UART_Printf("Error_Handler() called! Halting execution.\r\n");
  }
  /* USER CODE END Error_Handler_Debug */
}
